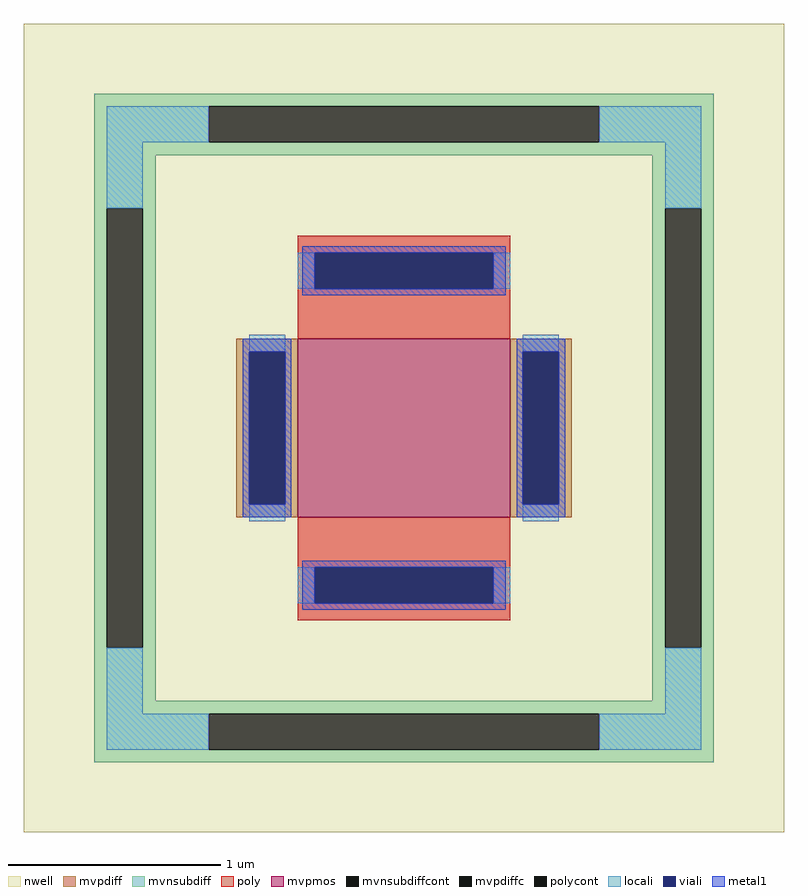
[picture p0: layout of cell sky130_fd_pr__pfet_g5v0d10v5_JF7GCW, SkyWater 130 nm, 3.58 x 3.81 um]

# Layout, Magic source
magic
tech sky130A
magscale 1 2
<< nwell >>
rect -358 -381 358 381
<< mvpmos >>
rect -100 -84 100 84
<< mvpdiff >>
rect -158 72 -100 84
rect -158 -72 -146 72
rect -112 -72 -100 72
rect -158 -84 -100 -72
rect 100 72 158 84
rect 100 -72 112 72
rect 146 -72 158 72
rect 100 -84 158 -72
<< mvpdiffc >>
rect -146 -72 -112 72
rect 112 -72 146 72
<< mvnsubdiff >>
rect -292 303 292 315
rect -292 269 -184 303
rect 184 269 292 303
rect -292 257 292 269
rect -292 207 -234 257
rect -292 -207 -280 207
rect -246 -207 -234 207
rect 234 207 292 257
rect -292 -257 -234 -207
rect 234 -207 246 207
rect 280 -207 292 207
rect 234 -257 292 -207
rect -292 -269 292 -257
rect -292 -303 -184 -269
rect 184 -303 292 -269
rect -292 -315 292 -303
<< mvnsubdiffcont >>
rect -184 269 184 303
rect -280 -207 -246 207
rect 246 -207 280 207
rect -184 -303 184 -269
<< poly >>
rect -100 165 100 181
rect -100 131 -84 165
rect 84 131 100 165
rect -100 84 100 131
rect -100 -131 100 -84
rect -100 -165 -84 -131
rect 84 -165 100 -131
rect -100 -181 100 -165
<< polycont >>
rect -84 131 84 165
rect -84 -165 84 -131
<< locali >>
rect -280 269 -184 303
rect 184 269 280 303
rect -280 207 -246 269
rect 246 207 280 269
rect -100 131 -84 165
rect 84 131 100 165
rect -146 72 -112 88
rect -146 -88 -112 -72
rect 112 72 146 88
rect 112 -88 146 -72
rect -100 -165 -84 -131
rect 84 -165 100 -131
rect -280 -269 -246 -207
rect 246 -269 280 -207
rect -280 -303 -184 -269
rect 184 -303 280 -269
<< viali >>
rect -84 131 84 165
rect -146 -72 -112 72
rect 112 -72 146 72
rect -84 -165 84 -131
<< metal1 >>
rect -96 165 96 171
rect -96 131 -84 165
rect 84 131 96 165
rect -96 125 96 131
rect -152 72 -106 84
rect -152 -72 -146 72
rect -112 -72 -106 72
rect -152 -84 -106 -72
rect 106 72 152 84
rect 106 -72 112 72
rect 146 -72 152 72
rect 106 -84 152 -72
rect -96 -131 96 -125
rect -96 -165 -84 -131
rect 84 -165 96 -131
rect -96 -171 96 -165
<< properties >>
string FIXED_BBOX -263 -286 263 286
string gencell sky130_fd_pr__pfet_g5v0d10v5
string library sky130
string parameters w 0.84 l 1.0 m 1 nf 1 diffcov 100 polycov 100 guard 1 glc 1 grc 1 gtc 1 gbc 1 tbcov 100 rlcov 100 topc 1 botc 1 poverlap 0 doverlap 1 lmin 0.50 wmin 0.42 compatible {sky130_fd_pr__pfet_01v8  sky130_fd_pr__pfet_01v8_lvt sky130_fd_pr__pfet_01v8_hvt  sky130_fd_pr__pfet_g5v0d10v5} full_metal 1 viasrc 100 viadrn 100 viagate 100 viagb 0 viagr 0 viagl 0 viagt 0
<< end >>
